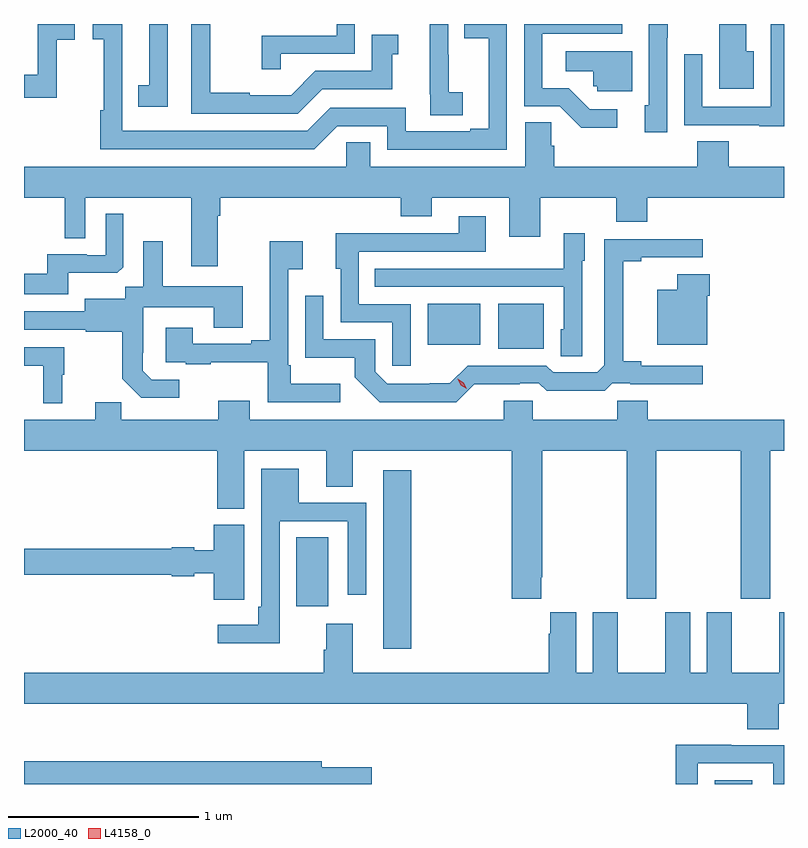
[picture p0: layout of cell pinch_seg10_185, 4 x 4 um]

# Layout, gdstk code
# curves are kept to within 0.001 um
import gdstk
lib = gdstk.Library(unit=1e-6, precision=1e-09)
def R(c, l, rs):  # rectangles x0, y0, x1, y1
    for r in rs: c.add(gdstk.rectangle(r[:2], r[2:], *l))
def P(c, l, *ps):  # polygons
    for p in ps: c.add(gdstk.Polygon(p, *l))
L2000_40 = (2000, 40)
L4158_0 = (4158, 0)

pinch_seg10_185 = lib.new_cell('pinch_seg10_185')
R(pinch_seg10_185, L2000_40, [(733.64,1255.938,733.837,1255.957), (731.894,1256.649,732.041,1257.589), (731.438,1256.874,731.605,1257.236), (732.5,1258.229,732.739,1258.465), (732.128,1258.25,732.406,1258.465)])
P(pinch_seg10_185, L2000_40, [(733.846,1259.794),(733.804,1259.794),(733.804,1259.938),(733.664,1259.938),(733.664,1259.597),(733.846,1259.597)],
  [(730.761,1259.938),(730.664,1259.938),(730.664,1259.615),(730.606,1259.615),(730.606,1259.502),(730.761,1259.502)],
  [(730.176,1259.854),(730.27,1259.854),(730.27,1259.938),(730.076,1259.938),(730.076,1259.671),(730.004,1259.671),(730.004,1259.55),(730.176,1259.55)],
  [(731.574,1259.595),(731.941,1259.595),(731.941,1259.779),(731.974,1259.779),(731.974,1259.882),(731.834,1259.882),(731.834,1259.691),(731.538,1259.691),(731.41,1259.563),(731.192,1259.563),(731.192,1259.575),(730.985,1259.575),(730.985,1259.938),(730.884,1259.938),(730.884,1259.466),(731.445,1259.466)],
  [(733.126,1259.49),(732.981,1259.49),(732.87,1259.601),(732.732,1259.601),(732.732,1259.886),(733.153,1259.886),(733.153,1259.938),(732.636,1259.938),(732.636,1259.505),(732.825,1259.505),(732.938,1259.393),(733.126,1259.393)],
  [(732.546,1259.938),(732.322,1259.938),(732.322,1259.862),(732.449,1259.862),(732.449,1259.388),(732.353,1259.388),(732.353,1259.373),(732.012,1259.373),(732.012,1259.496),(731.616,1259.496),(731.496,1259.376),(730.521,1259.376),(730.522,1259.938),(730.365,1259.938),(730.365,1259.859),(730.423,1259.859),(730.423,1259.483),(730.405,1259.483),(730.405,1259.28),(731.532,1259.28),(731.652,1259.4),(731.916,1259.4),(731.916,1259.277),(732.546,1259.277)],
  [(733.389,1259.866),(733.391,1259.866),(733.391,1259.938),(733.293,1259.938),(733.293,1259.511),(733.271,1259.511),(733.271,1259.367),(733.389,1259.367)],
  [(734.004,1259.938),(733.935,1259.938),(733.935,1259.502),(733.575,1259.502),(733.575,1259.779),(733.479,1259.779),(733.479,1259.406),(733.875,1259.406),(733.875,1259.399),(734.004,1259.399)],
  [(731.355,1259.781),(731.745,1259.781),(731.745,1259.938),(731.649,1259.938),(731.649,1259.877),(731.254,1259.877),(731.254,1259.7),(731.355,1259.7)],
  [(732.313,1259.58),(732.239,1259.58),(732.239,1259.777),(732.237,1259.777),(732.237,1259.938),(732.14,1259.938),(732.14,1259.569),(732.142,1259.569),(732.142,1259.458),(732.313,1259.458)],
  [(733.204,1259.794),(732.855,1259.794),(732.855,1259.69),(732.999,1259.69),(732.999,1259.61),(733.02,1259.61),(733.02,1259.583),(733.204,1259.583)],
  [(731.023,1258.928),(731.036,1258.928),(731.036,1259.024),(731.987,1259.024),(731.987,1258.925),(732.151,1258.925),(732.151,1259.024),(732.557,1259.024),(732.557,1258.818),(732.721,1258.818),(732.721,1259.024),(733.121,1259.024),(733.121,1258.896),(733.285,1258.896),(733.285,1259.024),(734.004,1259.024),(734.004,1259.188),(733.712,1259.188),(733.712,1259.321),(733.547,1259.321),(733.547,1259.188),(732.794,1259.188),(732.794,1259.297),(732.78,1259.297),(732.78,1259.42),(732.641,1259.42),(732.641,1259.188),(731.827,1259.188),(731.827,1259.315),(731.7,1259.315),(731.7,1259.188),(730.004,1259.188),(730.004,1259.024),(730.218,1259.024),(730.218,1258.81),(730.326,1258.81),(730.326,1259.024),(730.883,1259.024),(730.883,1258.662),(731.023,1258.662)],
  [(730.237,1258.628),(730.495,1258.628),(730.527,1258.659),(730.527,1258.939),(730.434,1258.939),(730.434,1258.722),(730.334,1258.722),(730.334,1258.725),(730.127,1258.725),(730.127,1258.624),(730.004,1258.624),(730.004,1258.515),(730.237,1258.515)],
  [(732.039,1258.464),(731.766,1258.464),(731.766,1258.74),(732.433,1258.74),(732.433,1258.927),(732.293,1258.927),(732.293,1258.836),(731.863,1258.836),(731.863,1258.838),(731.645,1258.838),(731.645,1258.65),(731.67,1258.65),(731.67,1258.368),(731.943,1258.368),(731.943,1258.14),(732.039,1258.14)],
  [(732.942,1258.692),(732.955,1258.692),(732.955,1258.837),(732.846,1258.837),(732.846,1258.651),(732.529,1258.651),(732.529,1258.65),(731.851,1258.65),(731.851,1258.554),(732.846,1258.554),(732.846,1258.332),(732.83,1258.332),(732.83,1258.189),(732.942,1258.189)],
  [(732.374,1258.043),(732.614,1258.043),(732.614,1258.047),(732.714,1258.047),(732.754,1258.008),(733.061,1258.008),(733.101,1258.047),(733.195,1258.047),(733.195,1258.043),(733.576,1258.043),(733.576,1258.14),(733.252,1258.14),(733.252,1258.163),(733.157,1258.163),(733.157,1258.69),(733.252,1258.69),(733.252,1258.71),(733.576,1258.71),(733.576,1258.806),(733.059,1258.806),(733.059,1258.143),(733.02,1258.104),(732.789,1258.104),(732.753,1258.14),(732.339,1258.14),(732.245,1258.046),(732.14,1258.046),(732.14,1258.044),(731.916,1258.044),(731.853,1258.107),(731.853,1258.278),(731.58,1258.278),(731.58,1258.507),(731.484,1258.507),(731.484,1258.181),(731.746,1258.181),(731.746,1258.079),(731.876,1257.948),(732.279,1257.948)],
  [(731.668,1258.045),(731.407,1258.045),(731.407,1258.141),(731.394,1258.141),(731.394,1258.646),(731.47,1258.646),(731.47,1258.795),(731.297,1258.795),(731.297,1258.273),(731.201,1258.273),(731.201,1258.254),(730.891,1258.254),(730.891,1258.339),(730.751,1258.339),(730.751,1258.158),(730.855,1258.158),(730.855,1258.146),(730.987,1258.146),(730.987,1258.157),(731.286,1258.157),(731.286,1257.948),(731.668,1257.948)],
  [(730.822,1258.065),(730.677,1258.065),(730.63,1258.112),(730.63,1258.207),(730.632,1258.207),(730.632,1258.448),(731.003,1258.448),(731.003,1258.339),(731.155,1258.339),(731.155,1258.558),(730.735,1258.558),(730.735,1258.795),(730.631,1258.795),(730.631,1258.556),(730.536,1258.556),(730.536,1258.492),(730.325,1258.492),(730.325,1258.425),(730.004,1258.425),(730.004,1258.329),(730.329,1258.329),(730.329,1258.317),(730.521,1258.317),(730.521,1258.071),(730.621,1257.971),(730.822,1257.971)],
  [(733.6,1258.508),(733.613,1258.508),(733.613,1258.621),(733.442,1258.621),(733.442,1258.54),(733.337,1258.54),(733.337,1258.25),(733.6,1258.25)],
  [(730.204,1258.092),(730.216,1258.092),(730.216,1258.236),(730.004,1258.236),(730.004,1258.14),(730.106,1258.14),(730.106,1257.941),(730.204,1257.941)],
  [(732.727,1257.025),(732.732,1257.025),(732.732,1257.692),(733.177,1257.692),(733.177,1256.913),(733.332,1256.913),(733.332,1257.692),(733.777,1257.692),(733.777,1256.913),(733.932,1256.913),(733.932,1257.692),(734.004,1257.692),(734.004,1257.856),(733.286,1257.856),(733.286,1257.954),(733.126,1257.954),(733.126,1257.856),(732.681,1257.856),(732.681,1257.954),(732.53,1257.954),(732.53,1257.856),(731.191,1257.856),(731.191,1257.955),(731.027,1257.955),(731.027,1257.856),(730.517,1257.856),(730.517,1257.947),(730.379,1257.947),(730.379,1257.856),(730.004,1257.856),(730.004,1257.692),(731.021,1257.692),(731.021,1257.388),(731.164,1257.388),(731.164,1257.692),(731.594,1257.692),(731.594,1257.502),(731.734,1257.502),(731.734,1257.692),(732.572,1257.692),(732.572,1256.913),(732.727,1256.913)],
  [(731.349,1257.321),(731.709,1257.321),(731.709,1256.934),(731.805,1256.934),(731.805,1257.417),(731.449,1257.417),(731.449,1257.598),(731.253,1257.598),(731.253,1256.872),(731.237,1256.872),(731.237,1256.776),(731.025,1256.776),(731.025,1256.678),(731.349,1256.678)],
  [(731.163,1257.019),(731.164,1257.019),(731.164,1257.303),(731.003,1257.303),(731.003,1257.169),(730.901,1257.169),(730.901,1257.184),(730.782,1257.184),(730.782,1257.176),(730.004,1257.176),(730.004,1257.04),(730.782,1257.04),(730.782,1257.032),(730.901,1257.032),(730.901,1257.047),(731.003,1257.047),(731.003,1256.907),(731.163,1256.907)],
  [(733.976,1256.36),(734.004,1256.36),(734.004,1256.842),(733.979,1256.842),(733.979,1256.524),(733.729,1256.524),(733.729,1256.842),(733.598,1256.842),(733.598,1256.524),(733.51,1256.524),(733.51,1256.842),(733.379,1256.842),(733.379,1256.524),(733.129,1256.524),(733.129,1256.842),(732.998,1256.842),(732.998,1256.524),(732.91,1256.524),(732.91,1256.842),(732.773,1256.842),(732.773,1256.729),(732.767,1256.729),(732.767,1256.524),(731.734,1256.524),(731.734,1256.782),(731.594,1256.782),(731.594,1256.645),(731.582,1256.645),(731.582,1256.524),(730.004,1256.524),(730.004,1256.36),(733.811,1256.36),(733.811,1256.227),(733.976,1256.227)],
  [(733.551,1256.046),(733.947,1256.046),(733.947,1255.938),(734.004,1255.938),(734.004,1256.142),(733.727,1256.142),(733.727,1256.144),(733.435,1256.144),(733.435,1255.938),(733.551,1255.938)],
  [(731.833,1256.025),(731.572,1256.025),(731.572,1256.059),(730.004,1256.059),(730.004,1255.938),(731.833,1255.938)])
P(pinch_seg10_185, L4158_0, [(732.334,1258.017),(732.303,1258.038),(732.287,1258.071),(732.287,1258.071),(732.287,1258.071),(732.318,1258.051),(732.335,1258.017),(732.335,1258.017)])

lib.write_gds('pinch_seg10_185.gds')
